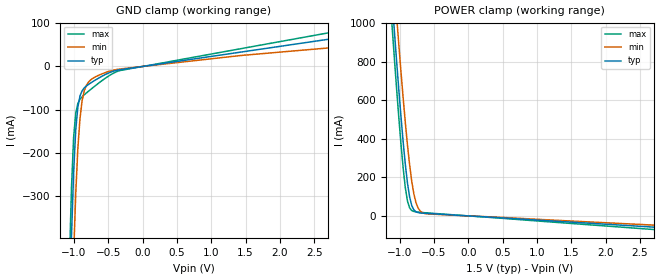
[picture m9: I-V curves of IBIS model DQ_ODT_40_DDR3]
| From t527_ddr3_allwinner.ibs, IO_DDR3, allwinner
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|   Model DQ_ODT_40_DDR3
[Model] DQ_ODT_40_DDR3
Model_type Input
Polarity   Non-Inverting
Enable   Active-High
Vinl =  0.750V
Vinh =  0.750V
C_comp   1.490pF   1.454pF   1.538pF
C_comp_power_clamp   0.456pF   0.438pF   0.477pF
C_comp_gnd_clamp   0.771pF   0.751pF   0.799pF
[Model Spec]
Vinh   0.750V   0.712V   0.787V
Vinl   0.750V   0.712V   0.787V
[Temperature Range]   25.000   0.125k   -40.000
[Voltage Range]   1.500V   1.425V   1.575V
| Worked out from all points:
|   GND clamp passes 1 mA (typ) near -0.04 V on its own axis
|   POWER clamp passes 1 mA (typ) near -0.05 V on its own axis
[GND_clamp]
|Voltage   I(typ)   I(min)   I(max)
-1.5V     -3.549A    -3.632A    -3.531A
-1.066V   -585.8mA   -814.2mA   -458.9mA
-1.035V   -394.4mA   -614.3mA   -280.7mA
-1.004V   -245.2mA   -438.1mA   -164.6mA
-973mV    -147.1mA   -294.5mA   -108.2mA
-942mV    -93.8mA    -189.1mA   -85.58mA
-911mV    -68.37mA   -120.1mA   -75.87mA
-880mV    -56.26mA   -79.26mA   -70.15mA
-818mV    -45.18mA   -43.63mA   -61.39mA
-725mV    -35.11mA   -27.63mA   -49.29mA
-322mV    -7.489mA   -5.737mA   -9.261mA
3V        69.77mA    46.92mA    86.28mA
[POWER_clamp]
|Voltage   I(typ)   I(min)   I(max)
-1.5V     3.134A     3.328A     3.025A
-1.135V   1.242A     1.47A      1.105A
-1.104V   1.088A     1.319A     948.5mA
-1.073V   936.5mA    1.169A     794.8mA
-1.042V   788.6mA    1.023A     645.3mA
-1.011V   645.5mA    880.1mA    501.8mA
-918mV    266.8mA    484mA      146.4mA
-887mV    170.8mA    368.8mA    77.55mA
-825mV    54.36mA    180.9mA    28.07mA
-732mV    17.26mA    40.69mA    19.76mA
-608mV    13.08mA    10.78mA    15.89mA
3V        -64.56mA   -52.96mA   -78.4mA
